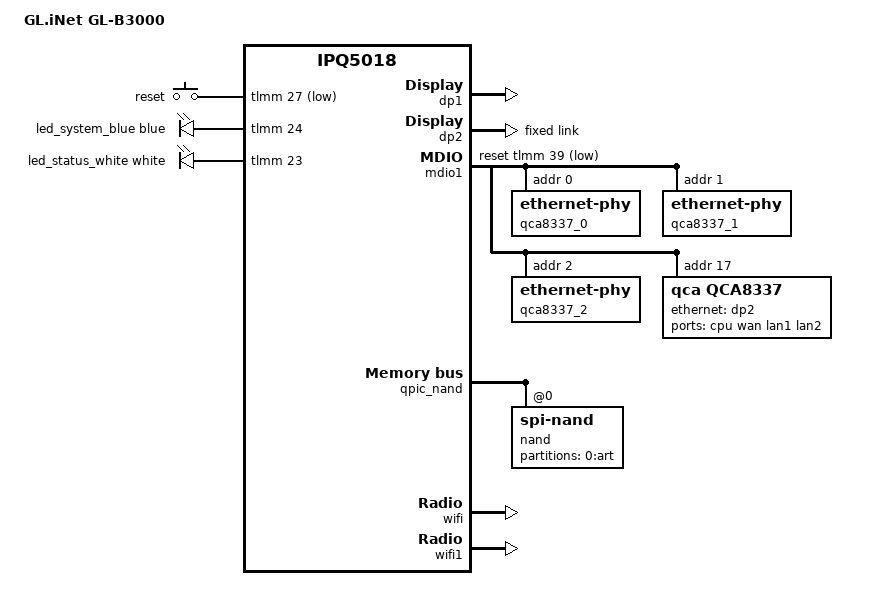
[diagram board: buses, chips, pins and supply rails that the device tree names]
// SPDX-License-Identifier: GPL-2.0-or-later OR MIT

/dts-v1/;

#include "ipq5018.dtsi"
#include "ipq5018-ess.dtsi"
#include "ipq5018-nss.dtsi"
#include "ipq5018-common.dtsi"

#include <dt-bindings/gpio/gpio.h>
#include <dt-bindings/input/input.h>
#include <dt-bindings/leds/common.h>

/ {
	model = "GL.iNet GL-B3000";
	compatible ="glinet,gl-b3000", "qcom,ipq5018";

	aliases {
		ethernet1 = &dp2;
		label-mac-device = &dp2;
		led-boot = &led_system_blue;
		led-failsafe = &led_status_white;
		led-running = &led_status_white;
		led-upgrade = &led_system_blue;
		serial0 = &blsp1_uart1;
	};

	chosen {
		stdout-path = "serial0:115200n8";
		bootargs-append = " root=/dev/ubiblock0_1";
	};

	keys {
		compatible = "gpio-keys";

		button_reset {
			label = "reset";
			gpios = <&tlmm 27 GPIO_ACTIVE_LOW>;
			linux,code = <KEY_RESTART>;
		};
	};

	leds {
		compatible = "gpio-leds";

		led_system_blue: system-blue {
			color = <LED_COLOR_ID_BLUE>;
			function = LED_FUNCTION_POWER;
			gpios = <&tlmm 24 GPIO_ACTIVE_HIGH>;
			default-state = "on";
		};

		led_status_white: status-white {
			color = <LED_COLOR_ID_WHITE>;
			function = LED_FUNCTION_POWER;
			gpios = <&tlmm 23 GPIO_ACTIVE_HIGH>;
			default-state = "off";
		};
	};
};

&dp1 {
	status = "okay";
};

&dp2 {
	status = "okay";
	nvmem-cells = <&macaddr_dp2 0>;
	nvmem-cell-names = "mac-address";

	fixed-link {
		speed = <1000>;
		full-duplex;
	};
};

&mdio1 {
	status = "okay";

	pinctrl-0 = <&mdio1_pins>;
	pinctrl-names = "default";
	reset-gpios = <&tlmm 39 GPIO_ACTIVE_LOW>;

	qca8337_0: ethernet-phy@0 {
		reg = <0>;
	};

	qca8337_1: ethernet-phy@1 {
		reg = <1>;
	};

	qca8337_2: ethernet-phy@2 {
		reg = <2>;
	};

	qca8337: ethernet-switch@17 {
		compatible = "qca,qca8337";
		#address-cells = <1>;
		#size-cells = <0>;
		reg = <17>;

		ports {
			#address-cells = <1>;
			#size-cells = <0>;

			port@0 {
				reg = <0>;
				label = "cpu";
				phy-mode = "sgmii";
				ethernet = <&dp2>;
				qca,sgmii-enable-pll;

				fixed-link {
					speed = <1000>;
					full-duplex;
				};
			};

			port@1 {
				reg = <1>;
				label = "wan";
				phy-handle = <&qca8337_0>;
			};

			port@2 {
				reg = <2>;
				label = "lan1";
				phy-handle = <&qca8337_1>;

				nvmem-cells = <&macaddr_dp2 2>;
				nvmem-cell-names = "mac-address";
			};

			port@3 {
				reg = <3>;
				label = "lan2";
				phy-handle = <&qca8337_2>;

				nvmem-cells = <&macaddr_dp2 2>;
				nvmem-cell-names = "mac-address";
			};
		};
	};
};

&qpic_nand {
	status = "okay";

	pinctrl-0 = <&qpic_pins>;
	pinctrl-names = "default";

	nand@0 {
		compatible = "spi-nand";
		reg = <0>;

		nand-ecc-engine = <&qpic_nand>;
		nand-ecc-strength = <4>;
		nand-ecc-step-size = <512>;
		nand-bus-width = <8>;

		partitions {
			compatible = "qcom,smem-part";

			partition-0-art {
				label = "0:art";
				read-only;

				nvmem-layout {
					compatible = "fixed-layout";
					#address-cells = <1>;
					#size-cells = <1>;

					macaddr_dp2: macaddr@0 {
						compatible = "mac-base";
						#nvmem-cell-cells = <1>;
						reg = <0x6 0x6>;
					};
				};
			};
		};
	};
};

&wifi {
	status = "okay";

	qcom,rproc = <&q6_wcss_pd1>;
	qcom,userpd-subsys-name = "q6v5_wcss_userpd1";
	qcom,ath11k-calibration-variant = "GL-iNet-GL-B3000";
};

&wifi1 {
	status = "okay";

	qcom,rproc = <&q6_wcss_pd3>;
	qcom,userpd-subsys-name = "q6v5_wcss_userpd3";
	qcom,ath11k-calibration-variant = "GL-iNet-GL-B3000";
};
